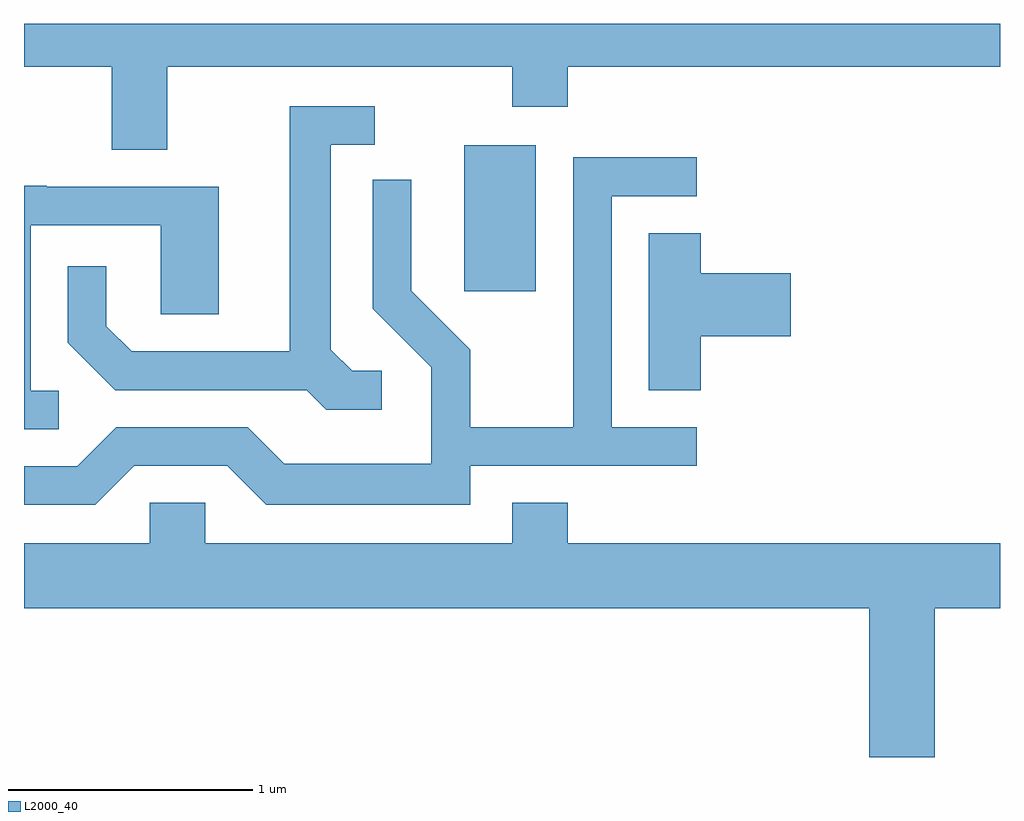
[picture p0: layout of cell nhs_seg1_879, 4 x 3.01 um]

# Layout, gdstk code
import gdstk
lib = gdstk.Library(unit=1e-6, precision=1e-09)
def R(c, l, rs):  # rectangles x0, y0, x1, y1
    for r in rs: c.add(gdstk.rectangle(r[:2], r[2:], *l))
def P(c, l, *ps):  # polygons
    for p in ps: c.add(gdstk.Polygon(p, *l))
L2000_40 = (2000, 40)

nhs_seg1_879 = lib.new_cell('nhs_seg1_879')
R(nhs_seg1_879, L2000_40, [(213.416,938.616,213.709,939.214)])
P(nhs_seg1_879, L2000_40, [(212.199,939.536),(213.611,939.536),(213.611,939.371),(213.839,939.371),(213.839,939.536),(215.611,939.536),(215.611,939.712),(211.611,939.712),(211.611,939.536),(211.971,939.536),(211.971,939.196),(212.199,939.196)],
  [(213.078,938.289),(212.957,938.289),(212.869,938.377),(212.869,939.216),(213.048,939.216),(213.048,939.374),(212.701,939.374),(212.701,938.369),(212.052,938.369),(211.949,938.472),(211.949,938.718),(211.791,938.718),(211.791,938.404),(211.984,938.211),(212.769,938.211),(212.849,938.131),(213.078,938.131)],
  [(212.062,937.901),(212.444,937.901),(212.604,937.741),(213.439,937.741),(213.439,937.901),(214.368,937.901),(214.368,938.059),(214.019,938.059),(214.019,939.006),(214.368,939.006),(214.368,939.164),(213.861,939.164),(213.861,938.059),(213.439,938.059),(213.439,938.377),(213.199,938.617),(213.199,939.073),(213.041,939.073),(213.041,938.544),(213.281,938.304),(213.281,937.909),(212.677,937.909),(212.527,938.059),(211.989,938.059),(211.829,937.899),(211.611,937.899),(211.611,937.741),(211.902,937.741)],
  [(211.753,938.209),(211.639,938.209),(211.639,938.886),(212.171,938.886),(212.171,938.521),(212.409,938.521),(212.409,939.044),(211.705,939.044),(211.705,939.049),(211.611,939.049),(211.611,938.051),(211.753,938.051)],
  [(214.384,938.431),(214.754,938.431),(214.754,938.689),(214.384,938.689),(214.384,938.854),(214.171,938.854),(214.171,938.211),(214.384,938.211)],
  [(213.839,937.749),(213.611,937.749),(213.611,937.584),(212.354,937.584),(212.354,937.749),(212.126,937.749),(212.126,937.584),(211.611,937.584),(211.611,937.316),(215.076,937.316),(215.076,936.706),(215.344,936.706),(215.344,937.316),(215.611,937.316),(215.611,937.584),(213.839,937.584)])

lib.write_gds('nhs_seg1_879.gds')
